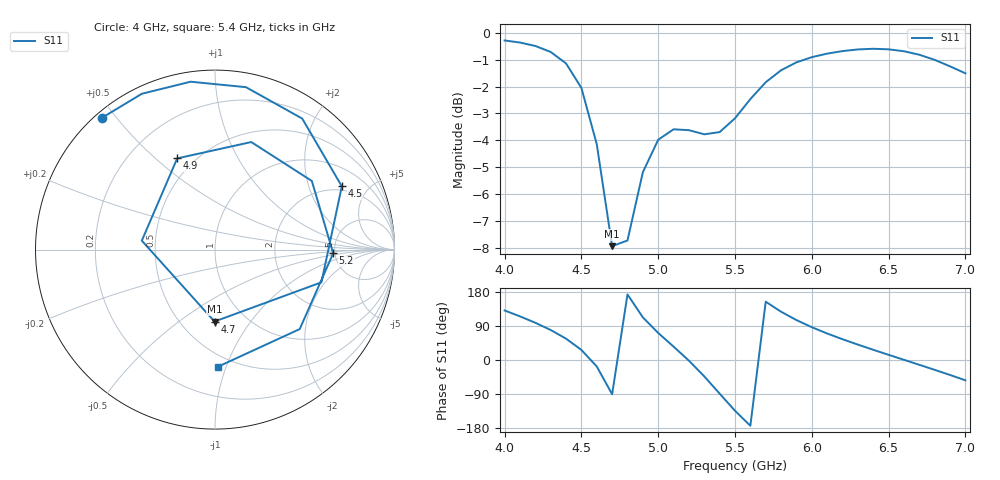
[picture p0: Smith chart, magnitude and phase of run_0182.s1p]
! Touchstone file exported from HFSS 2024.2.0
!  File:  C:/Users/wsak9/Desktop/Sim Fast/Widenad Patch/WP_AI_V1_sweep.aedt
!  Generated:  10:33:11 PM Oct 13, 2026
!  Design:  A1_model
!  Project:  WP_AI_V1_sweep
!  Setup:  Setup1
!  Solution:  Sweep
! Variables:
!  Air_gap = 3.26mm
!  Curve_Amp1 = 2.54
!  Curve_len1 = 1
!  Curve_pos = 11.72mm
!  Extra = 1.38mm
!  H_sub = 0.79mm
!  L_Patch = 19.44mm
!  L_Patch1 = 12mm
!  Sx = 1.31mm
!  Sy = 3.71mm
!  WS = 0.79mm
!  W_Patch = 14.66mm
!  W_Patch1 = 10.62mm
!Data is not renormalized
# GHz S MA
! Terminal data exported
! Port[1] = 1
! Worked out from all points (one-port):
!   31 points, 4 GHz to 7 GHz, reference per port
!   lowest |S11| = -7.9 dB at 4.7 GHz (marker M1), VSWR 2.34
!   |S11| at or under -10 dB: nowhere
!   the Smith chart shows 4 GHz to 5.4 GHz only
!   S11 on the Smith chart (normalised r, x): 4 GHz: 0.02, +0.46; 4.5 GHz: 1.79, +3.35; 4.7 GHz: 0.72, -0.69; 4.9 GHz: 0.40, +0.59; 5.2 GHz: 4.84, -0.35; 5.4 GHz: 0.41, -0.93
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4  0.9677 130.8
4.1  0.9591 115.1
4.2  0.9452 98.3
4.3  0.9212 79.2
4.4  0.877 56.3
4.5  0.7897 26.5
4.6  0.6203 -17.1
4.7  0.4008 -90.4
4.8  0.4107 173.0
4.9  0.5502 112.5
5  0.6324 71.4
5.1  0.6613 35.3
5.2  0.6589 -1.8
5.3  0.6473 -43.2
5.4  0.6534 -88.7
5.5  0.6932 -133.9
5.6  0.7528 -173.6
5.7  0.809 153.9
5.8  0.8517 127.4
5.9  0.8811 105.4
6  0.9008 86.5
6.1  0.9146 69.9
6.3  0.9312 40.6
6.5  0.9317 13.6
6.6  0.924 0.5
6.7  0.9103 -12.7
6.8  0.8905 -25.9
7  0.8407 -53.7
